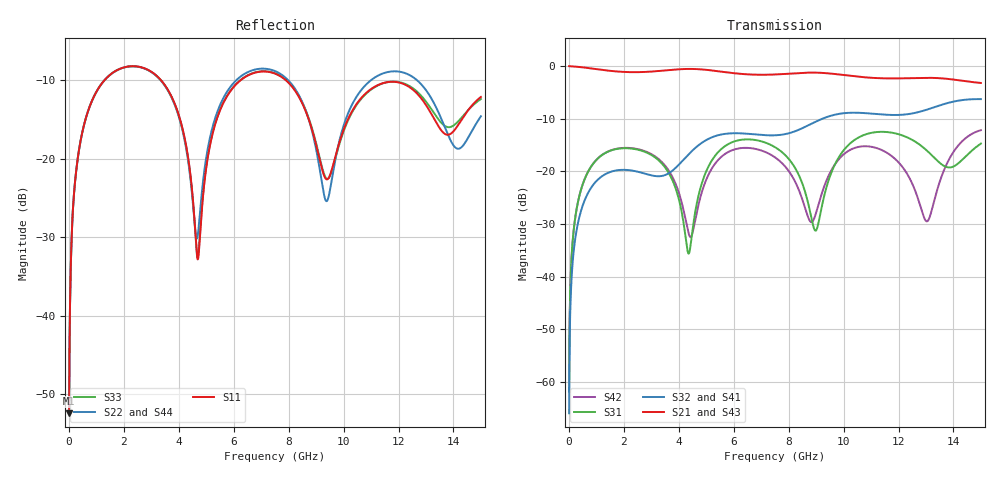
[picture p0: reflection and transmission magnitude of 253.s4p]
! Created with skrf 1.8.0 (http://scikit-rf.org).
# GHz S RI R 50.0
!freq ReS11 ImS11 ReS12 ImS12 ReS13 ImS13
! ReS14 ImS14
! ReS21 ImS21 ReS22 ImS22 ReS23 ImS23
! ReS24 ImS24
! ReS31 ImS31 ReS32 ImS32 ReS33 ImS33
! ReS34 ImS34
! ReS41 ImS41 ReS42 ImS42 ReS43 ImS43
! ReS44 ImS44
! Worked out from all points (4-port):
!   2499 points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, 5 MHz to 15 GHz, reference 50 ohm
!   strongest paths, dB at 5 MHz, 3.476 GHz, 7.19 GHz, 11.1 GHz, 15 GHz:
!     S21: 0.0, -0.8, -1.6, -2.2, -3.2
!     S43: 0.0, -0.8, -1.7, -2.3, -3.2
!     S32: -65.9, -20.7, -13.1, -9.1, -6.3
!     S41: -65.9, -20.8, -13.2, -9.1, -6.3
!     S31: -61.8, -19.1, -14.6, -12.6, -14.7
!     S42: -61.8, -18.7, -16.4, -15.4, -12.2
!   lowest |S11| = -52.4 dB at 5 MHz (marker M1), VSWR 1.00, Z = 50.2 + j0.145 ohm
!   |S11| at or under -10 dB: start of sweep to 1.29 GHz; 3.354 GHz to 6.246 GHz (2.892 GHz wide, 60.2 % of centre); 7.901 GHz to end of sweep
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0.005  0.00191 0.00145  0.998 -0.00372  9.86e-05 0.000803  -9.55e-05 -0.000497
       0.998 -0.00372  0.00191 0.00145  -9.55e-05 -0.000497  9.86e-05 0.000803
       9.86e-05 0.000803  -9.55e-05 -0.000497  0.00191 0.00145  0.998 -0.00372
       -9.55e-05 -0.000497  9.86e-05 0.000803  0.998 -0.00372  0.00191 0.00145
0.3126303  0.0313 0.0937  0.957 -0.2301  0.0153 0.0467  -0.0127 -0.0283
           0.957 -0.2301  0.0313 0.0937  -0.0127 -0.0283  0.0155 0.0467
           0.0153 0.0467  -0.0127 -0.0283  0.0313 0.0937  0.957 -0.2301
           -0.0127 -0.0283  0.0155 0.0467  0.957 -0.2301  0.0313 0.0937
1.369321  0.2788 0.1715  0.5285 -0.7395  0.1377 0.0641  -0.0954 -0.00247
          0.5285 -0.7395  0.2781 0.1719  -0.0956 -0.00228  0.1395 0.0615
          0.1377 0.0641  -0.0956 -0.00228  0.2786 0.1715  0.5285 -0.7395
          -0.0954 -0.00247  0.1395 0.0615  0.5285 -0.7395  0.2782 0.1718
4.545909  0.0255 -0.0393  -0.9253 -0.1576  0.021 0.0268  -0.0248 0.1605
          -0.9253 -0.1576  0.0327 -0.0305  -0.0218 0.161  -0.0228 0.0188
          0.021 0.0268  -0.0218 0.161  0.0259 -0.038  -0.9255 -0.1571
          -0.0248 0.1605  -0.0228 0.0188  -0.9255 -0.1571  0.0316 -0.0292
9.453939  0.075 0.00811  0.8472 0.0976  0.0209 0.0798  0.034 -0.3308
          0.8472 0.0976  0.0556 0.0141  0.0223 -0.3319  -0.0073 0.0908
          0.0209 0.0798  0.0223 -0.3319  0.0751 0.00514  0.847 0.0993
          0.034 -0.3308  -0.0073 0.0908  0.847 0.0993  0.056 0.0132
12.2301  0.295 -0.0366  -0.0474 -0.765  0.0828 -0.1988  -0.3397 0.0551
         -0.0474 -0.765  0.3446 -0.0715  -0.3391 0.074  0.0764 -0.0685
         0.0828 -0.1988  -0.3391 0.074  0.2995 -0.0262  -0.0448 -0.763
         -0.3397 0.0551  0.0764 -0.0685  -0.0448 -0.763  0.3515 -0.0786
15  0.2377 0.0699  -0.6571 0.2155  0.132 0.1278  0.1915 0.4454
    -0.6571 0.2155  0.1767 0.0598  0.2158 0.4353  0.1784 0.1699
    0.132 0.1278  0.2158 0.4353  0.2344 0.053  -0.6613 0.2091
    0.1915 0.4454  0.1784 0.1699  -0.6613 0.2091  0.172 0.057
